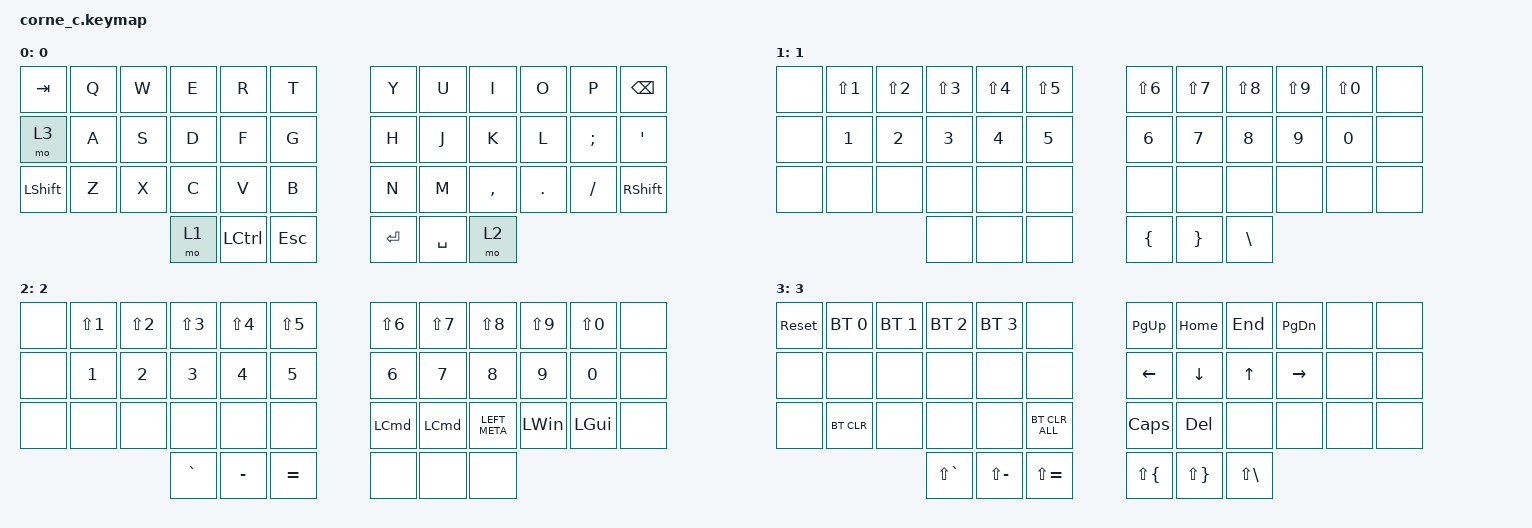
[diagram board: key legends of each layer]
/*
 * Copyright (c) 2020 The ZMK Contributors
 *
 * SPDX-License-Identifier: MIT
 */

#include <behaviors.dtsi>
#include <dt-bindings/zmk/bt.h>
#include <dt-bindings/zmk/keys.h>

#define DEFAULT    0
#define NUMSYMB    1
#define NAVIGATION  2
#define SHORTCUTS   3

/ {
    combos {
        compatible = "zmk,combos";

        bootloader {
            bindings = <&bootloader>;
            key-positions = <0 11 38 39>;
        };
    };

    keymap {
        compatible = "zmk,keymap";

        layer0 {
            label = "0";
            bindings = <
&kp TAB         &kp Q  &kp W  &kp E  &kp R      &kp T      &kp Y      &kp U      &kp I      &kp O    &kp P          &kp BACKSPACE
&mo 3           &kp A  &kp S  &kp D  &kp F      &kp G      &kp H      &kp J      &kp K      &kp L    &kp SEMICOLON  &kp SQT
&kp LEFT_SHIFT  &kp Z  &kp X  &kp C  &kp V      &kp B      &kp N      &kp M      &kp COMMA  &kp DOT  &kp FSLH       &kp RIGHT_SHIFT
                              &mo 1  &kp LCTRL  &kp ESC    &kp ENTER  &kp SPACE  &mo 2
            >;
        };

        layer1 {
            label = "1";
            bindings = <
&none  &kp LS(N1)  &kp LS(N2)  &kp LS(N3)  &kp LS(N4)  &kp LS(N5)    &kp LS(N6)      &kp LS(N7)       &kp LS(N8)     &kp LS(N9)  &kp LS(N0)  &none
&none  &kp N1      &kp N2      &kp N3      &kp N4      &kp N5        &kp N6          &kp N7           &kp N8         &kp N9      &kp N0      &none
&none  &none       &none       &none       &none       &none         &none           &none            &none          &none       &none       &none
                               &none       &none       &none         &kp LEFT_BRACE  &kp RIGHT_BRACE  &kp BACKSLASH
            >;
        };

        layer2 {
            label = "2";
            bindings = <
&none  &kp LS(N1)  &kp LS(N2)  &kp LS(N3)  &kp LS(N4)  &kp LS(N5)    &kp LS(N6)        &kp LS(N7)  &kp LS(N8)     &kp LS(N9)    &kp LS(N0)    &none
&none  &kp N1      &kp N2      &kp N3      &kp N4      &kp N5        &kp N6            &kp N7      &kp N8         &kp N9        &kp N0        &none
&none  &none       &none       &none       &none       &none         &kp LEFT_COMMAND  &kp LCMD    &kp LEFT_META  &kp LEFT_WIN  &kp LEFT_GUI  &none
                               &kp GRAVE   &kp MINUS   &kp EQUAL     &none             &none       &none
            >;
        };

        layer3 {
            label = "3";
            bindings = <
&sys_reset  &bt BT_SEL 0  &bt BT_SEL 1  &bt BT_SEL 2   &bt BT_SEL 3   &none             &kp PAGE_UP         &kp HOME             &kp END            &kp PAGE_DOWN  &none  &none
&none       &none         &none         &none          &none          &none             &kp LEFT            &kp DOWN             &kp UP             &kp RIGHT      &none  &none
&none       &bt BT_CLR    &none         &none          &none          &bt BT_CLR_ALL    &kp CAPSLOCK        &kp DELETE           &none              &none          &none  &none
                                        &kp LS(GRAVE)  &kp LS(MINUS)  &kp LS(EQUAL)     &kp LS(LEFT_BRACE)  &kp LS(RIGHT_BRACE)  &kp LS(BACKSLASH)
            >;
        };
    };
};
